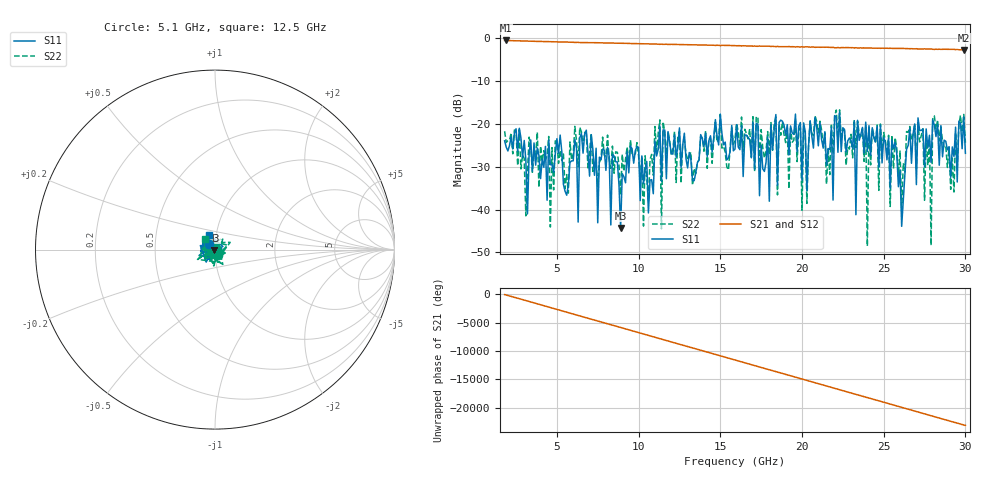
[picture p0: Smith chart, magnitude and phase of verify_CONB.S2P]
! C:\Users\Focus\Desktop\Focus Traning\LOW FREQUENCY TUNERS\LOAD-PULL CALIBRATION\02-08-2024\focus_TRL\verify_CONB.S2P
# GHZ S MA R 50
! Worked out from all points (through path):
!   283 points, 1.8 GHz to 30 GHz, reference 50 ohm
!   highest |S21| = -0.50 dB at 1.9 GHz (marker M1); lowest = -2.7 dB at 29.9 GHz (marker M2)
!   lowest |S11| = -44.3 dB at 8.9 GHz (marker M3), VSWR 1.01, Z = 49.5 - j0.276 ohm
!   |S11| at or under -10 dB: start of sweep to end of sweep
!   |S22| runs from -48.6 to -16.7 dB; largest |S21 - S12| = 0.00046
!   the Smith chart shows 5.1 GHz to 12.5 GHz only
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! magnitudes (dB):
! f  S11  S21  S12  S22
! 1.8 GHz  -23.9  -0.5  -0.5  -21.7
! 1.9 GHz  -25.4  -0.5  -0.5  -24.3
! 4.6 GHz  -29.5  -0.8  -0.8  -44.1
! 6.5 GHz  -22.2  -1.0  -1.0  -21.8
! 8.9 GHz  -44.3  -1.1  -1.2  -36.5
! 11.2 GHz  -26.0  -1.4  -1.4  -22.2
! 11.4 GHz  -33.4  -1.4  -1.4  -44.5
! 11.5 GHz  -21.4  -1.4  -1.4  -19.5
! 15.9 GHz  -25.9  -1.7  -1.7  -23.6
! 20.6 GHz  -22.8  -2.0  -2.0  -22.3
! 23.2 GHz  -19.3  -2.2  -2.3  -19.0
! 23.3 GHz  -41.2  -2.2  -2.2  -25.5
! 23.9 GHz  -19.6  -2.3  -2.3  -20.2
! 24 GHz  -26.4  -2.2  -2.2  -48.6
! 24.1 GHz  -20.4  -2.3  -2.3  -20.6
! 25.3 GHz  -23.3  -2.3  -2.3  -22.6
! 26.1 GHz  -43.9  -2.4  -2.4  -40.3
! 27.8 GHz  -22.7  -2.5  -2.5  -23.7
! 27.9 GHz  -29.0  -2.5  -2.5  -48.4
! 28 GHz  -19.0  -2.6  -2.6  -18.8
! 29.9 GHz  -18.3  -2.7  -2.7  -17.8
! 30 GHz  -26.9  -2.6  -2.6  -24.4
